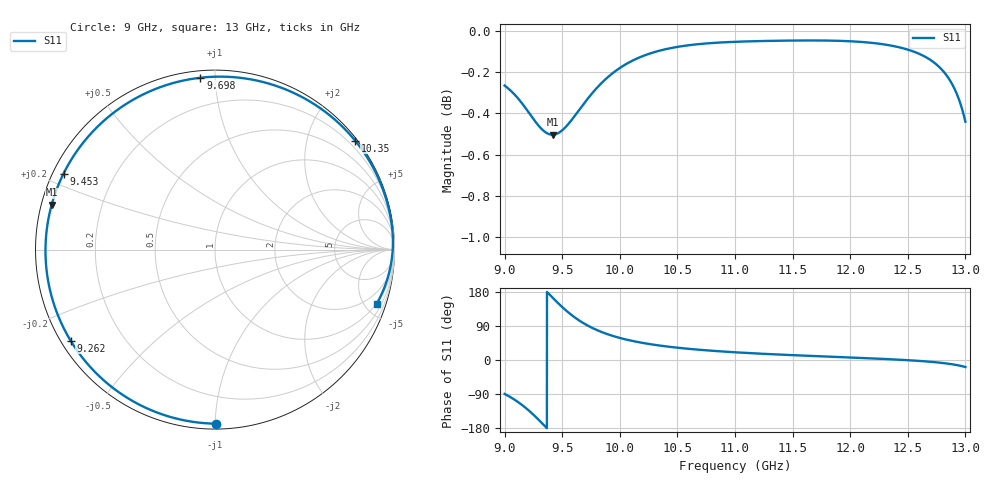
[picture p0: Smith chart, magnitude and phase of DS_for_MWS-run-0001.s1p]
! TOUCHSTONE file generated by CST DESIGN STUDIO
! Date and time: Tue Feb  4 13:51:17 2025
! Project name: C:\Work\MatlabApps\UnitCellOptimizationMatlab\CST\unitcell.cst
! Tree item: Tasks\Sweep1\SPara1\S-Parameters
! Header version: 2024
! Port assignment regex: !\s*Touchstone port\s*([0-9]+)\s*=\s*(CST MWS port|CST DES external port|CST DES block port)\s*(.+)\s* \(\"(.*)\"\)(\s*mode\s*([0-9]+))?.*
! Touchstone port assignment:
! Touchstone port 1 = CST DES external port 1 ("")
# GHz S MA R 50
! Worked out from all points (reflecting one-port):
!   4001 points, 9 GHz to 13 GHz, reference 50 ohm
!   lowest |S11| = -0.5 dB at 9.416 GHz (marker M1), VSWR 34.50, Z = 1.48 + j6.73 ohm
!   phase of S11 starts at -90 deg and turns -289 deg over the sweep
!   S11 on the Smith chart (normalised r, x): 9 GHz: 0.03, -1.01; 9.262 GHz: 0.03, -0.29; 9.453 GHz: 0.03, +0.24; 9.698 GHz: 0.04, +0.92; 10.35 GHz: 0.05, +2.92; 13 GHz: 0.96, -6.01
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9  0.97 -89.5
9.076  0.9658 -102.7
9.141  0.9612 -116.3
9.202  0.9561 -131.2
9.262  0.951 -147.8
9.303  0.9479 -160.0
9.341  0.9456 -171.8
9.378  0.9442 176.6
9.416  0.9437 164.7
9.453  0.9441 153.4
9.5  0.946 139.7
9.546  0.9488 127.4
9.593  0.9524 116.0
9.643  0.9565 105.2
9.698  0.961 94.8
9.769  0.9664 83.5
9.841  0.9713 74.0
9.917  0.9757 65.7
10  0.9796 58.2
10.159  0.985 47.3
10.353  0.9892 37.8
10.5  0.9912 32.5
11  0.994 20.4
11.5  0.9947 12.8
12  0.9943 6.6
12.5  0.9897 -0.5
12.794  0.9788 -7.6
13  0.9506 -18.4
